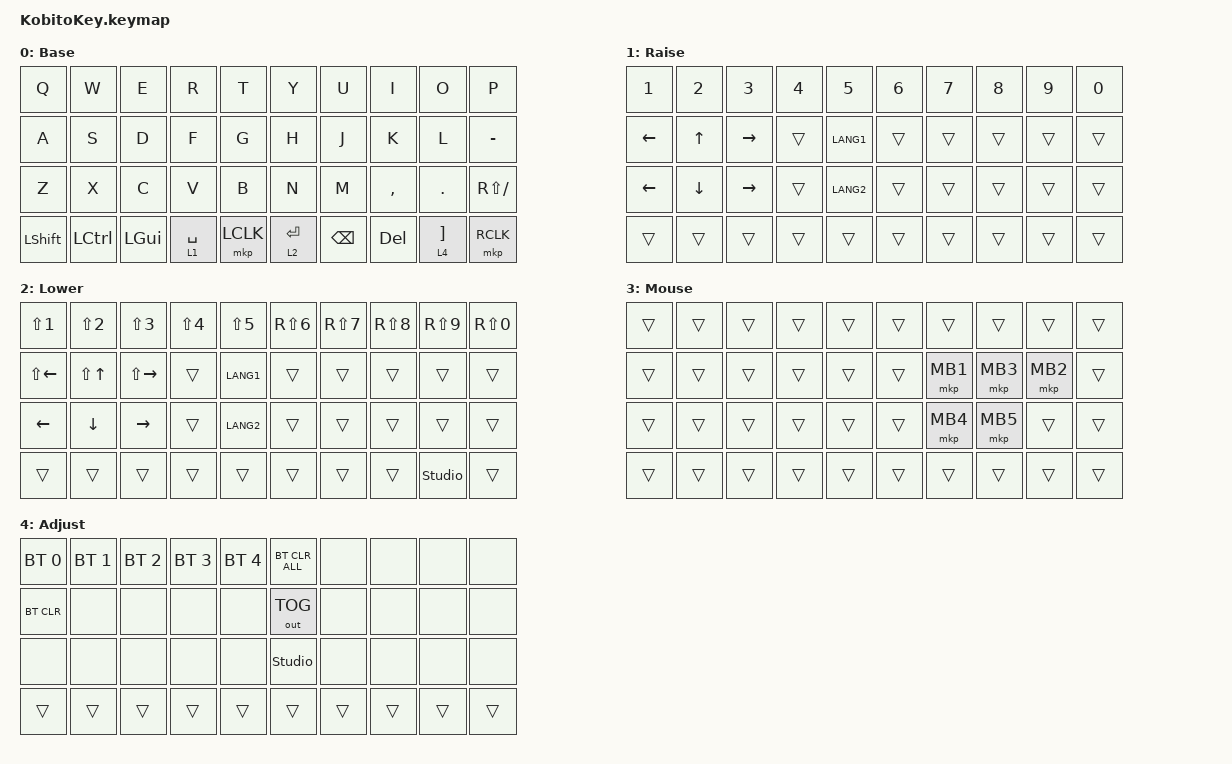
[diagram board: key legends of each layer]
#include <input/processors.dtsi>
#include <behaviors.dtsi>
#include <dt-bindings/zmk/bt.h>
#include <dt-bindings/zmk/keys.h>
#include <dt-bindings/zmk/pointing.h>
#include <dt-bindings/zmk/outputs.h>

/ {
    combos {
        compatible = "zmk,combos";

        combo_eisu {
            timeout-ms = <50>;
            key-positions = <12 13>;
            bindings = <&kp LANG2>;
        };

        combo_kana {
            timeout-ms = <50>;
            key-positions = <10 11>;
            bindings = <&kp LANG1>;
        };

        combo_esc {
            timeout-ms = <50>;
            key-positions = <0 1>;
            bindings = <&kp ESC>;
        };

        combo_tab {
            timeout-ms = <50>;
            key-positions = <4 3>;
            bindings = <&kp TAB>;
        };
    };

    keymap {
        compatible = "zmk,keymap";

        default_layer {
            display-name = "Base";
            bindings = <
&kp Q      &kp W      &kp E     &kp R        &kp T      &kp Y      &kp U     &kp I      &kp O       &kp P
&kp A      &kp S      &kp D     &kp F        &kp G      &kp H      &kp J     &kp K      &kp L       &kp MINUS
&kp Z      &kp X      &kp C     &kp V        &kp B      &kp N      &kp M     &kp COMMA  &kp DOT     &kp RS(FSLH)
&kp LSHFT  &kp LCTRL  &kp LGUI  &lt 1 SPACE  &mkp LCLK  &lt 2 RET  &kp BSPC  &kp DEL    &lt 4 RBKT  &mkp RCLK
            >;
        };

        layer_1 {
            display-name = "Raise";
            bindings = <
&kp N1    &kp N2    &kp N3     &kp N4     &kp N5     &kp N6  &kp N7  &kp N8  &kp N9  &kp N0
&kp LEFT  &kp UP    &kp RIGHT  &trans     &kp LANG1  &trans  &trans  &trans  &trans  &trans
&kp LEFT  &kp DOWN  &kp RIGHT  &trans     &kp LANG2  &trans  &trans  &trans  &trans  &trans
&trans    &trans    &trans     &trans     &trans     &trans  &trans  &trans  &trans  &trans
            >;
        };

        layer_2 {
            display-name = "Lower";
            bindings = <
&kp LS(N1)    &kp LS(N2)  &kp LS(N3)     &kp LS(N4)  &kp LS(N5)  &kp RS(N6)  &kp RS(N7)  &kp RS(N8)  &kp RS(N9)  &kp RS(N0)
&kp LS(LEFT)  &kp LS(UP)  &kp LS(RIGHT)  &trans      &kp LANG1   &trans      &trans      &trans      &trans      &trans
&kp LEFT      &kp DOWN    &kp RIGHT      &trans      &kp LANG2   &trans      &trans      &trans      &trans      &trans
&trans        &trans      &trans         &trans      &trans      &trans      &trans      &trans      &studio_unlock &trans
            >;
        };

        layer_3 {
            display-name = "Mouse";
            bindings = <
&trans  &trans  &trans  &trans  &trans  &trans    &trans    &trans    &trans    &trans
&trans  &trans  &trans  &trans  &trans  &trans    &mkp MB1  &mkp MB3  &mkp MB2  &trans
&trans  &trans  &trans  &trans  &trans  &trans    &mkp MB4  &mkp MB5  &trans    &trans
&trans  &trans  &trans  &trans  &trans  &trans    &trans    &trans    &trans    &trans
            >;
        };

        layer_4 {
            display-name = "Adjust";
            bindings = <
&bt BT_SEL 0  &bt BT_SEL 1  &bt BT_SEL 2  &bt BT_SEL 3  &bt BT_SEL 4  &bt BT_CLR_ALL  &none  &none  &none  &none
&bt BT_CLR    &none         &none         &none         &none         &out OUT_TOG    &none  &none  &none  &none
&none         &none         &none         &none         &none         &studio_unlock  &none  &none  &none  &none
&trans        &trans        &trans        &trans        &trans        &trans          &trans &trans &trans &trans
            >;
        };
    };
};
